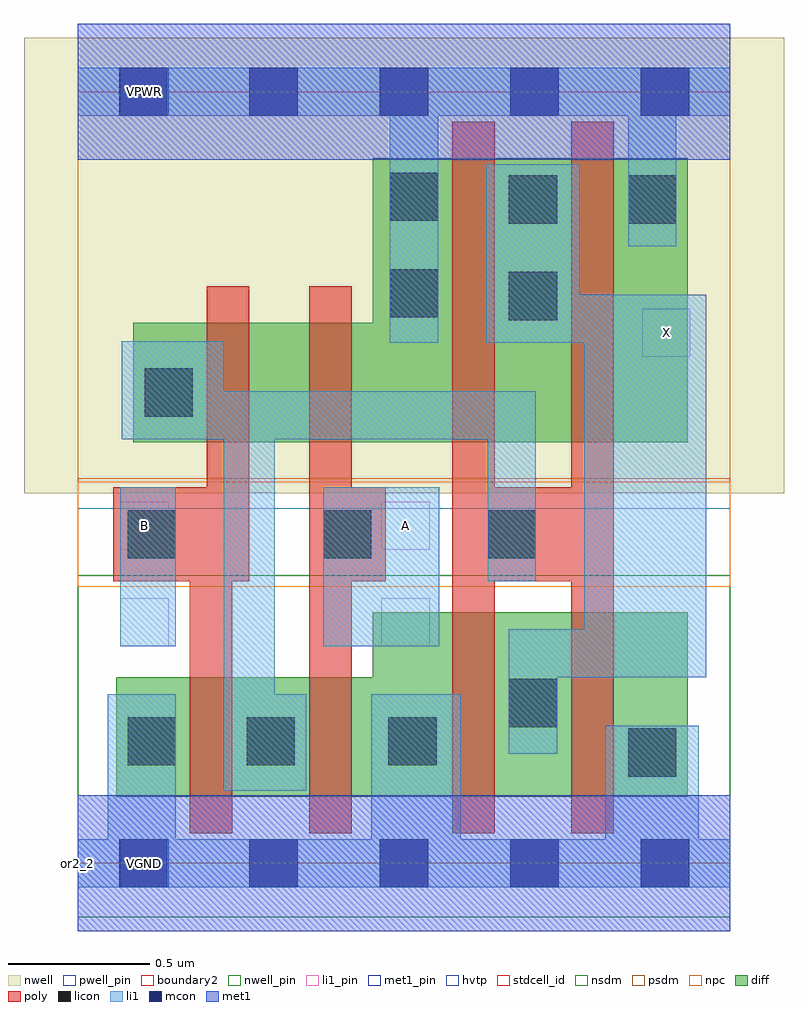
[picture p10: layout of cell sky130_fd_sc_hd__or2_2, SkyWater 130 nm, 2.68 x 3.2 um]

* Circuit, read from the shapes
.subckt sky130_fd_sc_hd__or2_2 A B VGND VNB VPB VPWR X
XM1 n1 B VGND VNB sky130_fd_pr__nfet_01v8 w=0.42 l=0.15
XM2 VGND A n1 VNB sky130_fd_pr__nfet_01v8 w=0.42 l=0.15
XM3 X n1 VGND VNB sky130_fd_pr__nfet_01v8 w=0.65 l=0.15 m=2
XM4 n2 B n1 VPB sky130_fd_pr__pfet_01v8_hvt w=0.42 l=0.15
XM5 VPWR A n2 VPB sky130_fd_pr__pfet_01v8_hvt w=0.42 l=0.15
XM6 X n1 VPWR VPB sky130_fd_pr__pfet_01v8_hvt w=1 l=0.15 m=2
.ends

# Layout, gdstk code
import gdstk
lib = gdstk.Library(unit=1e-6, precision=1e-09)
def R(c, l, rs):  # rectangles x0, y0, x1, y1
    for r in rs: c.add(gdstk.rectangle(r[:2], r[2:], *l))
def P(c, l, *ps):  # polygons
    for p in ps: c.add(gdstk.Polygon(p, *l))
nwell_pin = (64, 16)
nwell = (64, 20)
diff = (65, 20)
poly = (66, 20)
licon = (66, 44)
li1_pin = (67, 16)
li1 = (67, 20)
mcon = (67, 44)
met1_pin = (68, 16)
met1 = (68, 20)
hvtp = (78, 44)
stdcell_id = (81, 4)
nsdm = (93, 44)
psdm = (94, 20)
npc = (95, 20)
pwell_pin = (122, 16)
boundary2 = (236, 0)

sky130_fd_sc_hd__or2_2 = lib.new_cell('sky130_fd_sc_hd__or2_2')
R(sky130_fd_sc_hd__or2_2, nwell_pin, [(0.15,2.635,0.32,2.805), (0.15,2.635,0.32,2.805)])
R(sky130_fd_sc_hd__or2_2, nwell, [(-0.19,1.305,2.49,2.91), (-0.19,1.305,2.49,2.91)])
P(sky130_fd_sc_hd__or2_2, diff, [(0.135,0.235),(0.135,0.655),(1.04,0.655),(1.04,0.885),(2.15,0.885),(2.15,0.235)],
  [(0.195,1.485),(0.195,1.905),(1.04,1.905),(1.04,2.485),(2.15,2.485),(2.15,1.485)],
  [(0.135,0.235),(0.135,0.655),(1.04,0.655),(1.04,0.885),(2.15,0.885),(2.15,0.235)],
  [(0.195,1.485),(0.195,1.905),(1.04,1.905),(1.04,2.485),(2.15,2.485),(2.15,1.485)])
P(sky130_fd_sc_hd__or2_2, poly, [(0.815,0.105),(0.815,2.035),(0.965,2.035),(0.965,1.325),(1.085,1.325),(1.085,0.995),(0.965,0.995),(0.965,0.105)],
  [(1.32,0.105),(1.32,2.615),(1.47,2.615),(1.47,1.325),(1.74,1.325),(1.74,2.615),(1.89,2.615),(1.89,0.105),(1.74,0.105),(1.74,0.995),(1.47,0.995),(1.47,0.105)],
  [(0.395,0.105),(0.395,0.995),(0.125,0.995),(0.125,1.325),(0.455,1.325),(0.455,2.035),(0.605,2.035),(0.605,0.995),(0.545,0.995),(0.545,0.105)],
  [(0.815,0.105),(0.815,2.035),(0.965,2.035),(0.965,1.325),(1.085,1.325),(1.085,0.995),(0.965,0.995),(0.965,0.105)],
  [(1.32,0.105),(1.32,2.615),(1.47,2.615),(1.47,1.325),(1.74,1.325),(1.74,2.615),(1.89,2.615),(1.89,0.105),(1.74,0.105),(1.74,0.995),(1.47,0.995),(1.47,0.105)],
  [(0.395,0.105),(0.395,0.995),(0.125,0.995),(0.125,1.325),(0.455,1.325),(0.455,2.035),(0.605,2.035),(0.605,0.995),(0.545,0.995),(0.545,0.105)])
R(sky130_fd_sc_hd__or2_2, licon, [(1.94,0.305,2.11,0.475), (1.94,0.305,2.11,0.475), (0.175,0.345,0.345,0.515), (0.175,0.345,0.345,0.515), (0.595,0.345,0.765,0.515), (0.595,0.345,0.765,0.515), (1.095,0.345,1.265,0.515), (1.095,0.345,1.265,0.515), (1.52,0.48,1.69,0.65), (1.52,0.48,1.69,0.65), (0.175,1.075,0.345,1.245), (0.175,1.075,0.345,1.245), (0.865,1.075,1.035,1.245), (0.865,1.075,1.035,1.245), (1.445,1.075,1.615,1.245), (1.445,1.075,1.615,1.245), (0.235,1.575,0.405,1.745), (0.235,1.575,0.405,1.745), (1.52,1.915,1.69,2.085), (1.52,1.915,1.69,2.085), (1.1,1.925,1.27,2.095), (1.1,1.925,1.27,2.095), (1.52,2.255,1.69,2.425), (1.52,2.255,1.69,2.425), (1.94,2.255,2.11,2.425), (1.94,2.255,2.11,2.425), (1.1,2.265,1.27,2.435), (1.1,2.265,1.27,2.435)])
R(sky130_fd_sc_hd__or2_2, li1_pin, [(0.15,0.765,0.32,0.935), (0.15,0.765,0.32,0.935), (1.07,0.765,1.24,0.935), (1.07,0.765,1.24,0.935), (0.15,1.105,0.32,1.275), (0.15,1.105,0.32,1.275), (1.07,1.105,1.24,1.275), (1.07,1.105,1.24,1.275), (1.99,1.785,2.16,1.955), (1.99,1.785,2.16,1.955)])
R(sky130_fd_sc_hd__or2_2, li1, [(0.15,0.765,0.345,1.325), (0.15,0.765,0.345,1.325), (0.865,0.765,1.275,1.325), (0.865,0.765,1.275,1.325)])
P(sky130_fd_sc_hd__or2_2, li1, [(0,-0.085),(0,0.085),(0.105,0.085),(0.105,0.595),(0.345,0.595),(0.345,0.085),(1.035,0.085),(1.035,0.595),(1.35,0.595),(1.35,0.085),(1.86,0.085),(1.86,0.485),(2.19,0.485),(2.19,0.085),(2.3,0.085),(2.3,-0.085)],
  [(1.1,1.835),(1.1,2.635),(0,2.635),(0,2.805),(2.3,2.805),(2.3,2.635),(2.11,2.635),(2.11,2.175),(1.94,2.175),(1.94,2.635),(1.27,2.635),(1.27,1.835)],
  [(1.52,0.385),(1.52,0.825),(1.785,0.825),(1.785,1.835),(1.44,1.835),(1.44,2.465),(1.77,2.465),(1.77,2.005),(2.215,2.005),(2.215,0.655),(1.69,0.655),(1.69,0.385)],
  [(0.515,0.255),(0.515,1.495),(0.155,1.495),(0.155,1.84),(0.515,1.84),(0.515,1.665),(1.615,1.665),(1.615,0.995),(1.445,0.995),(1.445,1.495),(0.695,1.495),(0.695,0.595),(0.805,0.595),(0.805,0.255)],
  [(0,-0.085),(0,0.085),(0.105,0.085),(0.105,0.595),(0.345,0.595),(0.345,0.085),(1.035,0.085),(1.035,0.595),(1.35,0.595),(1.35,0.085),(1.86,0.085),(1.86,0.485),(2.19,0.485),(2.19,0.085),(2.3,0.085),(2.3,-0.085)],
  [(1.1,1.835),(1.1,2.635),(0,2.635),(0,2.805),(2.3,2.805),(2.3,2.635),(2.11,2.635),(2.11,2.175),(1.94,2.175),(1.94,2.635),(1.27,2.635),(1.27,1.835)],
  [(1.52,0.385),(1.52,0.825),(1.785,0.825),(1.785,1.835),(1.44,1.835),(1.44,2.465),(1.77,2.465),(1.77,2.005),(2.215,2.005),(2.215,0.655),(1.69,0.655),(1.69,0.385)],
  [(0.515,0.255),(0.515,1.495),(0.155,1.495),(0.155,1.84),(0.515,1.84),(0.515,1.665),(1.615,1.665),(1.615,0.995),(1.445,0.995),(1.445,1.495),(0.695,1.495),(0.695,0.595),(0.805,0.595),(0.805,0.255)])
R(sky130_fd_sc_hd__or2_2, mcon, [(0.145,-0.085,0.315,0.085), (0.145,-0.085,0.315,0.085), (0.605,-0.085,0.775,0.085), (0.605,-0.085,0.775,0.085), (1.065,-0.085,1.235,0.085), (1.065,-0.085,1.235,0.085), (1.525,-0.085,1.695,0.085), (1.525,-0.085,1.695,0.085), (1.985,-0.085,2.155,0.085), (1.985,-0.085,2.155,0.085), (0.145,2.635,0.315,2.805), (0.145,2.635,0.315,2.805), (0.605,2.635,0.775,2.805), (0.605,2.635,0.775,2.805), (1.065,2.635,1.235,2.805), (1.065,2.635,1.235,2.805), (1.525,2.635,1.695,2.805), (1.525,2.635,1.695,2.805), (1.985,2.635,2.155,2.805), (1.985,2.635,2.155,2.805)])
R(sky130_fd_sc_hd__or2_2, met1_pin, [(0.15,-0.085,0.32,0.085), (0.15,-0.085,0.32,0.085), (0.15,2.635,0.32,2.805), (0.15,2.635,0.32,2.805)])
R(sky130_fd_sc_hd__or2_2, hvtp, [(0,1.25,2.3,2.72), (0,1.25,2.3,2.72)])
R(sky130_fd_sc_hd__or2_2, stdcell_id, [(0,0,2.3,2.72), (0,0,2.3,2.72)])
R(sky130_fd_sc_hd__or2_2, nsdm, [(0,-0.19,2.3,1.015), (0,-0.19,2.3,1.015)])
R(sky130_fd_sc_hd__or2_2, psdm, [(0,1.355,2.3,2.91), (0,1.355,2.3,2.91)])
R(sky130_fd_sc_hd__or2_2, npc, [(0,0.975,2.3,1.345), (0,0.975,2.3,1.345)])
R(sky130_fd_sc_hd__or2_2, pwell_pin, [(0.15,-0.085,0.32,0.085), (0.15,-0.085,0.32,0.085)])
R(sky130_fd_sc_hd__or2_2, boundary2, [(0,0,2.3,2.72), (0,0,2.3,2.72)])
sky130_fd_sc_hd__or2_2.add(gdstk.FlexPath([(0,0),(2.3,0)], 0.48, ends="flush", simple_path=True, layer=68, datatype=20))  # met1
sky130_fd_sc_hd__or2_2.add(gdstk.FlexPath([(0,2.72),(2.3,2.72)], 0.48, ends="flush", simple_path=True, layer=68, datatype=20))  # met1
sky130_fd_sc_hd__or2_2.add(gdstk.FlexPath([(0,0),(2.3,0)], 0.48, ends="flush", simple_path=True, layer=68, datatype=20))  # met1
sky130_fd_sc_hd__or2_2.add(gdstk.FlexPath([(0,2.72),(2.3,2.72)], 0.48, ends="flush", simple_path=True, layer=68, datatype=20))  # met1
sky130_fd_sc_hd__or2_2.add(gdstk.Label('VPWR', (0.235,2.72), layer=68, texttype=5))
sky130_fd_sc_hd__or2_2.add(gdstk.Label('VGND', (0.235,0), layer=68, texttype=5))
sky130_fd_sc_hd__or2_2.add(gdstk.Label('VPWR', (0.235,2.72), layer=68, texttype=5))
sky130_fd_sc_hd__or2_2.add(gdstk.Label('VGND', (0.235,0), layer=68, texttype=5))
sky130_fd_sc_hd__or2_2.add(gdstk.Label('VPB', (0.235,2.72), layer=64, texttype=5))
sky130_fd_sc_hd__or2_2.add(gdstk.Label('VPB', (0.235,2.72), layer=64, texttype=5))
sky130_fd_sc_hd__or2_2.add(gdstk.Label('VNB', (0.235,0), layer=64, texttype=59))
sky130_fd_sc_hd__or2_2.add(gdstk.Label('VNB', (0.235,0), layer=64, texttype=59))
sky130_fd_sc_hd__or2_2.add(gdstk.Label('B', (0.235,1.19), layer=67, texttype=5))
sky130_fd_sc_hd__or2_2.add(gdstk.Label('X', (2.075,1.87), layer=67, texttype=5))
sky130_fd_sc_hd__or2_2.add(gdstk.Label('A', (1.155,1.19), layer=67, texttype=5))
sky130_fd_sc_hd__or2_2.add(gdstk.Label('B', (0.235,1.19), layer=67, texttype=5))
sky130_fd_sc_hd__or2_2.add(gdstk.Label('X', (2.075,1.87), layer=67, texttype=5))
sky130_fd_sc_hd__or2_2.add(gdstk.Label('A', (1.155,1.19), layer=67, texttype=5))
sky130_fd_sc_hd__or2_2.add(gdstk.Label('or2_2', (0,0), layer=83, texttype=44))
sky130_fd_sc_hd__or2_2.add(gdstk.Label('or2_2', (0,0), layer=83, texttype=44))

lib.write_gds('sky130_fd_sc_hd__or2_2.gds')
